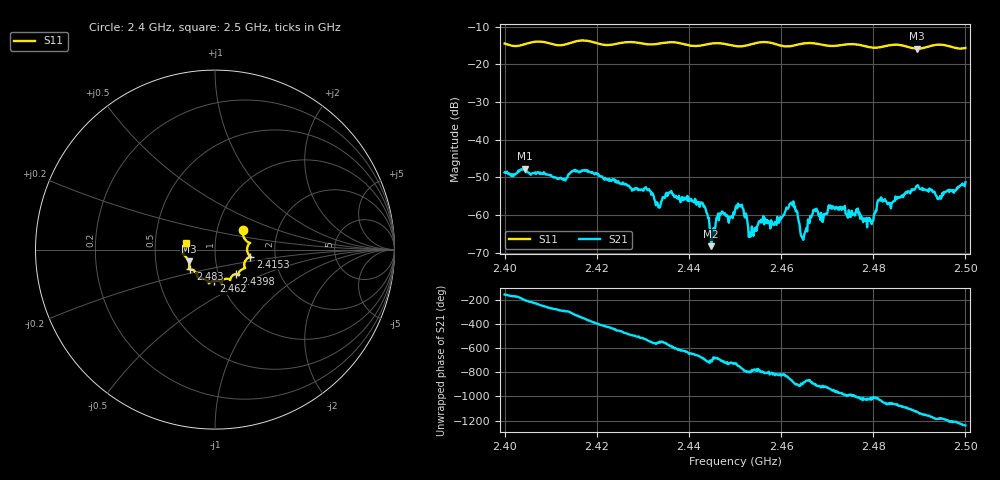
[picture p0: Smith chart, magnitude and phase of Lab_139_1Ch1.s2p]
# Hz S RI R 50
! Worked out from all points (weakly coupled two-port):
!   601 points, 2.4 GHz to 2.5 GHz, reference 50 ohm
!   highest |S21| = -47.78 dB at 2.4043 GHz (marker M1); lowest = -68.3 dB at 2.4448 GHz (marker M2)
!   lowest |S11| = -15.9 dB at 2.4895 GHz (marker M3), VSWR 1.38, Z = 36.9 - j4.98 ohm
!   |S11| at or under -10 dB: start of sweep to end of sweep
!   S12 and S22 are empty: the file has one direction only
!   S11 on the Smith chart (normalised r, x): 2.4 GHz: 1.33, +0.29; 2.4153 GHz: 1.48, -0.12; 2.4398 GHz: 1.21, -0.34; 2.462 GHz: 0.93, -0.33; 2.483 GHz: 0.74, -0.17; 2.5 GHz: 0.72, +0.06
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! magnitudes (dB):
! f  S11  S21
! 2.4 GHz  -14.5  -48.7
! 2.4043 GHz  -14.7  -47.8
! 2.4153 GHz  -14.0  -48.0
! 2.4167 GHz  -13.7  -48.4
! 2.4308 GHz  -14.7  -53.1
! 2.4333 GHz  -14.6  -57.9
! 2.4398 GHz  -15.0  -56.4
! 2.4432 GHz  -14.9  -57.8
! 2.4448 GHz  -14.5  -68.3
! 2.45 GHz  -15.1  -58.8
! 2.4513 GHz  -15.3  -57.4
! 2.4535 GHz  -14.7  -65.3
! 2.462 GHz  -15.2  -57.0
! 2.4647 GHz  -14.5  -66.3
! 2.4667 GHz  -14.4  -60.2
! 2.4733 GHz  -14.9  -58.5
! 2.4792 GHz  -15.5  -60.8
! 2.483 GHz  -15.1  -56.9
! 2.4833 GHz  -15.0  -56.9
! 2.4895 GHz  -15.9  -52.2
! 2.4943 GHz  -14.8  -55.5
! 2.5 GHz  -15.7  -51.4
